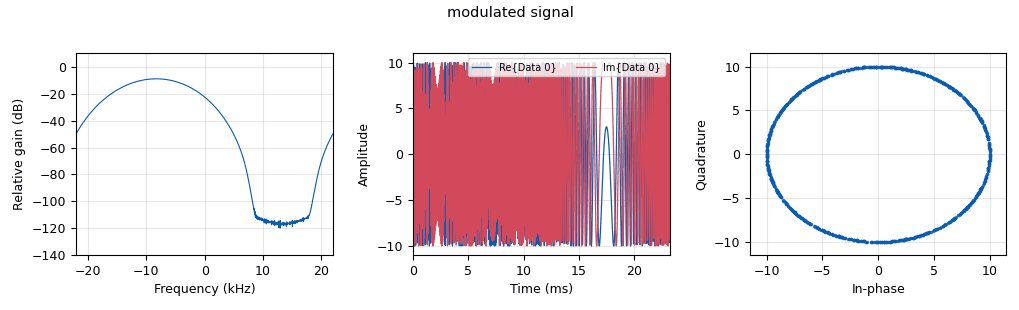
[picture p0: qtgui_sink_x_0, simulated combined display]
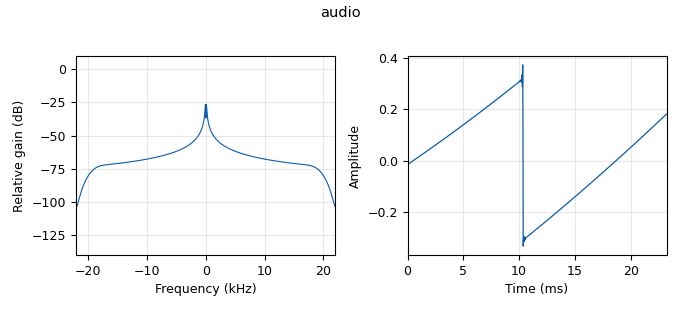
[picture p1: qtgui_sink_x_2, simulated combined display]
<?xml version='1.0' encoding='utf-8'?>
<?grc format='1' created='3.7.12'?>
<flow_graph>
<block>
<key>options</key>
<param><key>id</key><value>top_block</value></param>
<param><key>generate_options</key><value>qt_gui</value></param>
</block>
<block>
<key>variable</key>
<param><key>id</key><value>samp_rate</value></param>
<param><key>value</key><value>44100</value></param>
</block>
<block>
<key>variable_slider</key>
<param><key>id</key><value>variable_slider_0</value></param>
<param><key>converver</key><value>float_converter</value></param>
<param><key>value</key><value>94000000</value></param>
<param><key>_enabled</key><value>0</value></param>
<param><key>label</key><value>FM Slider</value></param>
<param><key>max</key><value>108000000</value></param>
<param><key>min</key><value>87900000</value></param>
<param><key>num_steps</key><value>100</value></param>
<param><key>style</key><value>wx.SL_HORIZONTAL</value></param>
</block>
<block>
<key>blocks_multiply_const_vxx</key>
<param><key>id</key><value>af_gain_stereo_left</value></param>
<param><key>const</key><value>100e-3</value></param>
<param><key>type</key><value>float</value></param>
</block>
<block>
<key>analog_quadrature_demod_cf</key>
<param><key>id</key><value>analog_quadrature_demod_cf_0</value></param>
<param><key>comment</key><value>samp_rate/(2*math.pi*fsk_deviation_hz/8.0)</value></param>
<param><key>gain</key><value>1</value></param>
</block>
<block>
<key>analog_sig_source_x</key>
<param><key>id</key><value>analog_sig_source_x_0</value></param>
<param><key>amp</key><value>1</value></param>
<param><key>freq</key><value>1000</value></param>
<param><key>offset</key><value>0</value></param>
<param><key>type</key><value>complex</value></param>
<param><key>samp_rate</key><value>samp_rate</value></param>
<param><key>waveform</key><value>analog.GR_COS_WAVE</value></param>
</block>
<block>
<key>analog_sig_source_x</key>
<param><key>id</key><value>analog_sig_source_x_0_0</value></param>
<param><key>amp</key><value>5</value></param>
<param><key>freq</key><value>2</value></param>
<param><key>offset</key><value>0</value></param>
<param><key>type</key><value>float</value></param>
<param><key>samp_rate</key><value>samp_rate</value></param>
<param><key>waveform</key><value>analog.GR_SIN_WAVE</value></param>
</block>
<block>
<key>audio_sink</key>
<param><key>id</key><value>audio_sink</value></param>
<param><key>num_inputs</key><value>2</value></param>
<param><key>samp_rate</key><value>48000</value></param>
</block>
<block>
<key>audio_sink</key>
<param><key>id</key><value>audio_sink_0</value></param>
<param><key>samp_rate</key><value>96000</value></param>
</block>
<block>
<key>blocks_file_source</key>
<param><key>id</key><value>blocks_file_source_0</value></param>
<param><key>_enabled</key><value>0</value></param>
<param><key>file</key><value>/home/gnu/99luftballoons.wav</value></param>
<param><key>type</key><value>short</value></param>
<param><key>repeat</key><value>True</value></param>
</block>
<block>
<key>blocks_multiply_const_vxx</key>
<param><key>id</key><value>blocks_multiply_const_vxx_0</value></param>
<param><key>comment</key><value>0.0000030518</value></param>
<param><key>const</key><value>1</value></param>
<param><key>type</key><value>float</value></param>
</block>
<block>
<key>blocks_multiply_const_vxx</key>
<param><key>id</key><value>blocks_multiply_const_vxx_1</value></param>
<param><key>const</key><value>1</value></param>
<param><key>type</key><value>complex</value></param>
</block>
<block>
<key>blocks_multiply_xx</key>
<param><key>id</key><value>blocks_multiply_xx_0</value></param>
<param><key>type</key><value>complex</value></param>
</block>
<block>
<key>blocks_short_to_float</key>
<param><key>id</key><value>blocks_short_to_float_0</value></param>
<param><key>_enabled</key><value>0</value></param>
<param><key>scale</key><value>1</value></param>
</block>
<block>
<key>blocks_vco_c</key>
<param><key>id</key><value>blocks_vco_c_0</value></param>
<param><key>amplitude</key><value>10</value></param>
<param><key>samp_rate</key><value>samp_rate</value></param>
<param><key>sensitivity</key><value>150000*1</value></param>
</block>
<block>
<key>dc_blocker_xx</key>
<param><key>id</key><value>dc_blocker_xx_0</value></param>
<param><key>length</key><value>1024</value></param>
<param><key>long_form</key><value>True</value></param>
<param><key>type</key><value>ff</value></param>
</block>
<block>
<key>qtgui_const_sink_x</key>
<param><key>id</key><value>qtgui_const_sink_x_0</value></param>
<param><key>_enabled</key><value>0</value></param>
<param><key>size</key><value>1024</value></param>
<param><key>type</key><value>complex</value></param>
</block>
<block>
<key>qtgui_sink_x</key>
<param><key>id</key><value>qtgui_sink_x_0</value></param>
<param><key>bw</key><value>samp_rate</value></param>
<param><key>fc</key><value>0</value></param>
<param><key>freqchangevar</key><value>None</value></param>
<param><key>fftsize</key><value>1024</value></param>
<param><key>name</key><value>modulated signal</value></param>
<param><key>showrf</key><value>True</value></param>
<param><key>type</key><value>complex</value></param>
<param><key>rate</key><value>50*3</value></param>
<param><key>wintype</key><value>firdes.WIN_BLACKMAN_hARRIS</value></param>
</block>
<block>
<key>qtgui_sink_x</key>
<param><key>id</key><value>qtgui_sink_x_2</value></param>
<param><key>bw</key><value>samp_rate</value></param>
<param><key>fc</key><value>0</value></param>
<param><key>freqchangevar</key><value>None</value></param>
<param><key>fftsize</key><value>1024</value></param>
<param><key>name</key><value>audio</value></param>
<param><key>showports</key><value>True</value></param>
<param><key>type</key><value>float</value></param>
<param><key>wintype</key><value>firdes.WIN_BLACKMAN_hARRIS</value></param>
</block>
<block>
<key>qtgui_time_sink_x</key>
<param><key>id</key><value>qtgui_time_sink_x_0</value></param>
<param><key>_enabled</key><value>0</value></param>
<param><key>color1</key><value>"blue"</value></param>
<param><key>label1</key><value></value></param>
<param><key>color2</key><value>"red"</value></param>
<param><key>label2</key><value></value></param>
<param><key>size</key><value>1024</value></param>
<param><key>srate</key><value>samp_rate</value></param>
<param><key>type</key><value>complex</value></param>
</block>
<block>
<key>rational_resampler_xxx</key>
<param><key>id</key><value>rr_stereo_right</value></param>
<param><key>decim</key><value>50</value></param>
<param><key>interp</key><value>25</value></param>
<param><key>type</key><value>fff</value></param>
</block>
<block>
<key>uhd_usrp_sink</key>
<param><key>id</key><value>uhd_usrp_sink_0</value></param>
<param><key>ant0</key><value>TX/RX</value></param>
<param><key>bw0</key><value>75e3</value></param>
<param><key>center_freq0</key><value>94e6</value></param>
<param><key>norm_gain0</key><value>False</value></param>
<param><key>gain0</key><value>50</value></param>
<param><key>clock_rate</key><value>0.0</value></param>
<param><key>dev_args</key><value>""</value></param>
<param><key>_enabled</key><value>0</value></param>
<param><key>type</key><value>fc32</value></param>
<param><key>samp_rate</key><value>samp_rate</value></param>
<param><key>hide_cmd_port</key><value>False</value></param>
<param><key>hide_lo_controls</key><value>True</value></param>
<param><key>sync</key><value></value></param>
<param><key>len_tag_name</key><value></value></param>
</block>
<block>
<key>wxgui_constellationsink2</key>
<param><key>id</key><value>wxgui_constellationsink2_0</value></param>
<param><key>const_size</key><value>2048</value></param>
<param><key>_enabled</key><value>0</value></param>
<param><key>frame_rate</key><value>25</value></param>
<param><key>gain_mu</key><value>0.005</value></param>
<param><key>loop_bw</key><value>6.28/100.0</value></param>
<param><key>M</key><value>4</value></param>
<param><key>fmax</key><value>0.06</value></param>
<param><key>mu</key><value>0.5</value></param>
<param><key>omega_limit</key><value>0.005</value></param>
<param><key>samp_rate</key><value>samp_rate</value></param>
<param><key>symbol_rate</key><value>samp_rate/4.</value></param>
<param><key>theta</key><value>0</value></param>
<param><key>title</key><value>Constellation Plot</value></param>
</block>
<block>
<key>wxgui_scopesink2</key>
<param><key>id</key><value>wxgui_scopesink2_1_0</value></param>
<param><key>ac_couple</key><value>False</value></param>
<param><key>_enabled</key><value>0</value></param>
<param><key>num_inputs</key><value>1</value></param>
<param><key>samp_rate</key><value>samp_rate</value></param>
<param><key>t_scale</key><value>0</value></param>
<param><key>title</key><value>Scope Plot</value></param>
<param><key>trig_mode</key><value>wxgui.TRIG_MODE_AUTO</value></param>
<param><key>type</key><value>complex</value></param>
<param><key>v_offset</key><value>0</value></param>
<param><key>v_scale</key><value>0</value></param>
<param><key>xy_mode</key><value>False</value></param>
<param><key>y_axis_label</key><value>Counts</value></param>
</block>
<connection><source_block_id>af_gain_stereo_left</source_block_id><sink_block_id>dc_blocker_xx_0</sink_block_id><source_key>0</source_key><sink_key>0</sink_key></connection>
<connection><source_block_id>analog_quadrature_demod_cf_0</source_block_id><sink_block_id>rr_stereo_right</sink_block_id><source_key>0</source_key><sink_key>0</sink_key></connection>
<connection><source_block_id>analog_sig_source_x_0</source_block_id><sink_block_id>blocks_multiply_const_vxx_1</sink_block_id><source_key>0</source_key><sink_key>0</sink_key></connection>
<connection><source_block_id>analog_sig_source_x_0_0</source_block_id><sink_block_id>blocks_multiply_const_vxx_0</sink_block_id><source_key>0</source_key><sink_key>0</sink_key></connection>
<connection><source_block_id>blocks_file_source_0</source_block_id><sink_block_id>blocks_short_to_float_0</sink_block_id><source_key>0</source_key><sink_key>0</sink_key></connection>
<connection><source_block_id>blocks_multiply_const_vxx_0</source_block_id><sink_block_id>audio_sink_0</sink_block_id><source_key>0</source_key><sink_key>0</sink_key></connection>
<connection><source_block_id>blocks_multiply_const_vxx_0</source_block_id><sink_block_id>blocks_vco_c_0</sink_block_id><source_key>0</source_key><sink_key>0</sink_key></connection>
<connection><source_block_id>blocks_multiply_const_vxx_1</source_block_id><sink_block_id>blocks_multiply_xx_0</sink_block_id><source_key>0</source_key><sink_key>1</sink_key></connection>
<connection><source_block_id>blocks_multiply_xx_0</source_block_id><sink_block_id>analog_quadrature_demod_cf_0</sink_block_id><source_key>0</source_key><sink_key>0</sink_key></connection>
<connection><source_block_id>blocks_multiply_xx_0</source_block_id><sink_block_id>qtgui_const_sink_x_0</sink_block_id><source_key>0</source_key><sink_key>0</sink_key></connection>
<connection><source_block_id>blocks_multiply_xx_0</source_block_id><sink_block_id>qtgui_sink_x_0</sink_block_id><source_key>0</source_key><sink_key>0</sink_key></connection>
<connection><source_block_id>blocks_multiply_xx_0</source_block_id><sink_block_id>qtgui_time_sink_x_0</sink_block_id><source_key>0</source_key><sink_key>0</sink_key></connection>
<connection><source_block_id>blocks_multiply_xx_0</source_block_id><sink_block_id>uhd_usrp_sink_0</sink_block_id><source_key>0</source_key><sink_key>0</sink_key></connection>
<connection><source_block_id>blocks_multiply_xx_0</source_block_id><sink_block_id>wxgui_constellationsink2_0</sink_block_id><source_key>0</source_key><sink_key>0</sink_key></connection>
<connection><source_block_id>blocks_multiply_xx_0</source_block_id><sink_block_id>wxgui_scopesink2_1_0</sink_block_id><source_key>0</source_key><sink_key>0</sink_key></connection>
<connection><source_block_id>blocks_short_to_float_0</source_block_id><sink_block_id>blocks_multiply_const_vxx_0</sink_block_id><source_key>0</source_key><sink_key>0</sink_key></connection>
<connection><source_block_id>blocks_vco_c_0</source_block_id><sink_block_id>blocks_multiply_xx_0</sink_block_id><source_key>0</source_key><sink_key>0</sink_key></connection>
<connection><source_block_id>dc_blocker_xx_0</source_block_id><sink_block_id>audio_sink</sink_block_id><source_key>0</source_key><sink_key>0</sink_key></connection>
<connection><source_block_id>dc_blocker_xx_0</source_block_id><sink_block_id>audio_sink</sink_block_id><source_key>0</source_key><sink_key>1</sink_key></connection>
<connection><source_block_id>dc_blocker_xx_0</source_block_id><sink_block_id>qtgui_sink_x_2</sink_block_id><source_key>0</source_key><sink_key>0</sink_key></connection>
<connection><source_block_id>rr_stereo_right</source_block_id><sink_block_id>af_gain_stereo_left</sink_block_id><source_key>0</source_key><sink_key>0</sink_key></connection>
</flow_graph>
